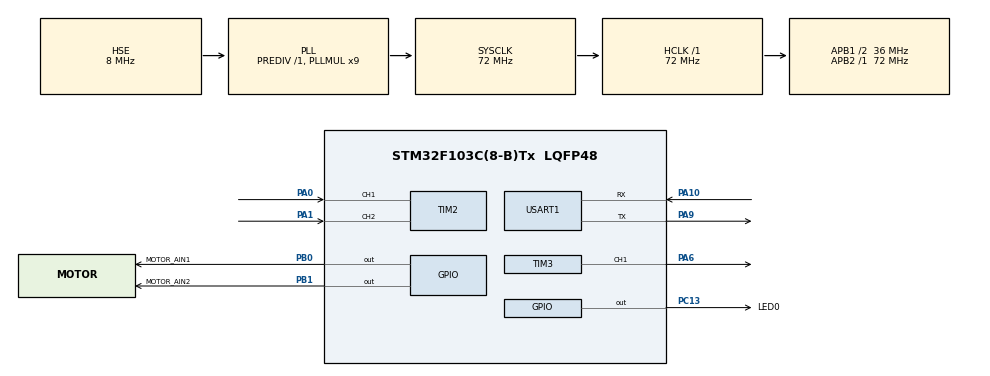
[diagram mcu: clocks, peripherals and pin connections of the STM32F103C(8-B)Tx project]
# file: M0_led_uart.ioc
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Mcu.Family=STM32F1
Mcu.Name=STM32F103C(8-B)Tx
Mcu.Package=LQFP48
NVIC.PriorityGroup=NVIC_PRIORITYGROUP_4
NVIC.TIM4_IRQn=true\:0\:0\:false\:false\:true\:true\:true\:true
PA0-WKUP.Signal=S_TIM2_CH1_ETR
PA1.Signal=S_TIM2_CH2
PA10.Mode=Asynchronous
PA10.Signal=USART1_RX
PA13.Mode=Serial_Wire
PA13.Signal=SYS_JTMS-SWDIO
PA14.Mode=Serial_Wire
PA14.Signal=SYS_JTCK-SWCLK
PA6.Signal=S_TIM3_CH1
PA9.Mode=Asynchronous
PA9.Signal=USART1_TX
PB0.GPIO_Label=MOTOR_AIN1
PB0.Signal=GPIO_Output
PB1.GPIO_Label=MOTOR_AIN2
PB1.Signal=GPIO_Output
PC13-TAMPER-RTC.GPIO_Label=LED0
PC13-TAMPER-RTC.Signal=GPIO_Output
PC14-OSC32_IN.Mode=LSE-External-Oscillator
PC14-OSC32_IN.Signal=RCC_OSC32_IN
PC15-OSC32_OUT.Mode=LSE-External-Oscillator
PC15-OSC32_OUT.Signal=RCC_OSC32_OUT
PD0-OSC_IN.Mode=HSE-External-Oscillator
PD0-OSC_IN.Signal=RCC_OSC_IN
PD1-OSC_OUT.Mode=HSE-External-Oscillator
PD1-OSC_OUT.Signal=RCC_OSC_OUT
ProjectManager.HeapSize=0x200
ProjectManager.StackSize=0x400
ProjectManager.TargetToolchain=CMake
RCC.AHBFreq_Value=72000000
RCC.APB1CLKDivider=RCC_HCLK_DIV2
RCC.APB1Freq_Value=36000000
RCC.APB1TimFreq_Value=72000000
RCC.APB2Freq_Value=72000000
RCC.APB2TimFreq_Value=72000000
RCC.HCLKFreq_Value=72000000
RCC.PLLMUL=RCC_PLL_MUL9
RCC.PLLSourceVirtual=RCC_PLLSOURCE_HSE
RCC.SYSCLKFreq_VALUE=72000000
RCC.SYSCLKSource=RCC_SYSCLKSOURCE_PLLCLK
RCC.USBFreq_Value=72000000
SH.S_TIM2_CH1_ETR.0=TIM2_CH1,Encoder_Interface
SH.S_TIM2_CH2.0=TIM2_CH2,Encoder_Interface
SH.S_TIM3_CH1.0=TIM3_CH1,PWM Generation1 CH1
TIM2.EncoderMode=TIM_ENCODERMODE_TI12
TIM2.TIM_MasterOutputTrigger=TIM_TRGO_ENABLE
TIM3.Channel-PWM\ Generation1\ CH1=TIM_CHANNEL_1
TIM3.Period=99
TIM3.Prescaler=71
TIM4.Period=9999
TIM4.Prescaler=72-1
USART1.VirtualMode=VM_ASYNC
VP_TIM3_VS_ClockSourceINT.Mode=Internal
VP_TIM4_VS_ClockSourceINT.Mode=Internal
board=custom

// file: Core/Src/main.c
/* USER CODE BEGIN Header */
/**
  ******************************************************************************
  * @file           : main.c
  * @brief          : Main program body
  ******************************************************************************
  * @attention
  *
  * Copyright (c) 2026 STMicroelectronics.
  * All rights reserved.
  *
  * This software is licensed under terms that can be found in the LICENSE file
  * in the root directory of this software component.
  * If no LICENSE file comes with this software, it is provided AS-IS.
  *
  ******************************************************************************
  */
/* USER CODE END Header */
#include "main.h"
#include "tim.h"
#include "usart.h"
#include "gpio.h"

/* USER CODE BEGIN Includes */
#include <stdio.h>
#include <stdint.h>
#include "pid.h"
#include "encoder.h"
#include <string.h>
#include "i2c_soft.h"
#include "as5600.h"
/* USER CODE END Includes */

/* USER CODE BEGIN PD */
/*速度环*/
#define SIM_KP  2.0f
#define SIM_KI  0.2f
#define SIM_KAW 0.5f
#define ENCODER_SAMPLE_TIME 0.01f
/*位置环*/
#define POS_KP  1.67f
#define POS_KI  0.0f
#define POS_KAW 0.0f
#define POS_OUT_MAX 25.0f

/* USER CODE END PD */

/* USER CODE BEGIN PM */
PID_t speed_pi;              /* 速度环 PID 控制器实例（唯一） */
float real_speed;            // 编码器实测转速（rpm）

PID_t angle_p;              /* 角度环 PID 控制器实例（唯一） */
float target_angle = 90.0f;      // 目标角度，后期可改为角度/闭环输入
float real_angle;            // 编码器实测角度（度）
extern volatile int flag_pid;         // 由 TIM4 中断置位，表示新的采样点就绪
/* USER CODE END PM */

void SystemClock_Config(void);

/* USER CODE BEGIN 0 */
void Vofa_SendJustFloat(float *ch,uint8_t num)
{
  uint8_t frame[8 * 4 + 4];
  uint8_t idx = 0;
  for(uint8_t i=0;i<num;i++)
  {
    memcpy(frame + idx, (uint8_t *)(ch+i), 4);
    idx += 4;
  }
  frame[idx++] = 0x00;frame[idx++] = 0x00;
  frame[idx++] = 0x80;frame[idx++] = 0x7F;
  HAL_UART_Transmit(&huart1, frame, idx, HAL_MAX_DELAY);
}

void __io_putchar(int ch)
{
  HAL_UART_Transmit(&huart1, (uint8_t *)&ch, 1, HAL_MAX_DELAY);
}
/* USER CODE END 0 */

int main(void)
{

  /* MCU Configuration--------------------------------------------------------*/

  /* Reset of all peripherals, Initializes the Flash interface and the Systick. */
  HAL_Init();

  /* Configure the system clock */
  SystemClock_Config();

  /* Initialize all configured peripherals */
  MX_GPIO_Init();
  MX_TIM3_Init();
  MX_TIM4_Init();
  MX_TIM2_Init();
  MX_USART1_UART_Init();
  /* USER CODE BEGIN 2 */
  DWT_Delay_Init(); /* 初始化 DWT 延时函数 */
  i2c_soft_init();       /* 初始化 I2C 软件模拟 */
  PID_Init(&speed_pi, SIM_KP, SIM_KI, SIM_KAW, -100.0f, 100.0f); /* 初始化转速实例 */
  PID_Init(&angle_p, POS_KP, POS_KI, POS_KAW, -POS_OUT_MAX, POS_OUT_MAX); /* 初始化角度实例 */
  HAL_TIM_PWM_Start(&htim3, TIM_CHANNEL_1);
  HAL_TIM_Base_Start_IT(&htim4);   /* 启动 TIM4 定时中断(10ms) */
  HAL_TIM_Encoder_Start(&htim2, TIM_CHANNEL_ALL);
  HAL_GPIO_WritePin(MOTOR_AIN1_GPIO_Port, MOTOR_AIN1_Pin, GPIO_PIN_SET);
  HAL_GPIO_WritePin(MOTOR_AIN2_GPIO_Port, MOTOR_AIN2_Pin, GPIO_PIN_RESET);
  __HAL_TIM_SET_COMPARE(&htim3, TIM_CHANNEL_1, 0); /* 初始占空比 0% */
  /* USER CODE END 2 */

  /* Infinite loop */
  /* USER CODE BEGIN WHILE */
  while (1)
  {
    float angle = AS5600_ReadAngle() * 360.0f / 4096.0f ;
    float frame[ 1 ] = {angle};
    Vofa_SendJustFloat(frame, 1 );
    HAL_Delay( 10 );

  /*占空比统一由 PID 输出驱动*/
    // if(flag_pid)
    // {
    //   flag_pid = 0;   /* 复位标志*/

    //   Encoder_Update();   /*更新编码器计数*/
    //   real_angle = Encoder_GetAngle();
    //   real_speed = Encoder_Getspeed();

    //   float target_speed = PID_Calc(&angle_p, target_angle, real_angle, ENCODER_SAMPLE_TIME);
    //   float pwm_out = PID_Calc(&speed_pi, target_speed, real_speed, ENCODER_SAMPLE_TIME);
    //   float duty;
    //   if (pwm_out >= 0.0f )
    //   {
    //       HAL_GPIO_WritePin(MOTOR_AIN1_GPIO_Port, MOTOR_AIN1_Pin, GPIO_PIN_SET);
    //       HAL_GPIO_WritePin(MOTOR_AIN2_GPIO_Port, MOTOR_AIN2_Pin, GPIO_PIN_RESET);
    //       duty = pwm_out;
    //   } else {
    //       HAL_GPIO_WritePin(MOTOR_AIN1_GPIO_Port, MOTOR_AIN1_Pin, GPIO_PIN_RESET);
    //       HAL_GPIO_WritePin(MOTOR_AIN2_GPIO_Port, MOTOR_AIN2_Pin, GPIO_PIN_SET);
    //       duty = -pwm_out;
    //   }
    //   __HAL_TIM_SET_COMPARE(&htim3, TIM_CHANNEL_1, duty);
    //   float frame[ 4 ] = {target_angle, real_angle, target_speed, pwm_out};
    //   Vofa_SendJustFloat(frame, 4);
    // }
    /* USER CODE END WHILE */

  }
}

void SystemClock_Config(void)
{
  RCC_OscInitTypeDef RCC_OscInitStruct = {0};
  RCC_ClkInitTypeDef RCC_ClkInitStruct = {0};

  /** Initializes the RCC Oscillators according to the specified parameters
  * in the RCC_OscInitTypeDef structure.
  */
  RCC_OscInitStruct.OscillatorType = RCC_OSCILLATORTYPE_HSE;
  RCC_OscInitStruct.HSEState = RCC_HSE_ON;
  RCC_OscInitStruct.HSEPredivValue = RCC_HSE_PREDIV_DIV1;
  RCC_OscInitStruct.HSIState = RCC_HSI_ON;
  RCC_OscInitStruct.PLL.PLLState = RCC_PLL_ON;
  RCC_OscInitStruct.PLL.PLLSource = RCC_PLLSOURCE_HSE;
  RCC_OscInitStruct.PLL.PLLMUL = RCC_PLL_MUL9;
  if (HAL_RCC_OscConfig(&RCC_OscInitStruct) != HAL_OK)
  {
    Error_Handler();
  }

  /** Initializes the CPU, AHB and APB buses clocks
  */
  RCC_ClkInitStruct.ClockType = RCC_CLOCKTYPE_HCLK|RCC_CLOCKTYPE_SYSCLK
                              |RCC_CLOCKTYPE_PCLK1|RCC_CLOCKTYPE_PCLK2;
  RCC_ClkInitStruct.SYSCLKSource = RCC_SYSCLKSOURCE_PLLCLK;
  RCC_ClkInitStruct.AHBCLKDivider = RCC_SYSCLK_DIV1;
  RCC_ClkInitStruct.APB1CLKDivider = RCC_HCLK_DIV2;
  RCC_ClkInitStruct.APB2CLKDivider = RCC_HCLK_DIV1;

  if (HAL_RCC_ClockConfig(&RCC_ClkInitStruct, FLASH_LATENCY_2) != HAL_OK)
  {
    Error_Handler();
  }
}

void Error_Handler(void)
{
  __disable_irq();
  while (1)
  {
  }
}
